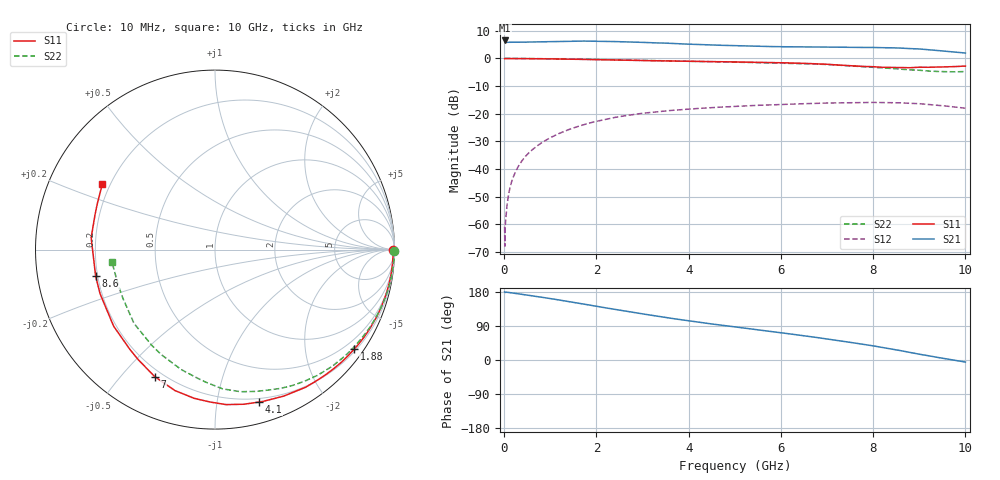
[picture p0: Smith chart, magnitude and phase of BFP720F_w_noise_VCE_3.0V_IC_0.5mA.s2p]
! Infineon Technologies  Discrete & RF Semiconductors
! BFP720F
! VCE =  3.0 V,  IC =  0.5 mA
! Common Emitter S-Parameters:  Jan 2016
# GHz  S  MA  R  50
!  f  S11  S21  S12  S22
! GHz  MAG  ANG  MAG  ANG  MAG  ANG  MAG  ANG
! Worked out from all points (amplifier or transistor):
!   233 points, 10 MHz to 10 GHz, reference 50 ohm
!   highest |S21| = 6.5 dB at 10 MHz (marker M1)
!   |S21| within 3 dB of that: start of sweep to 8.882 GHz
!   unconditionally stable (mu >= 1): nowhere
!   at 200 MHz: K = 0.01, MSG = 24.3 dB, |S12| = -42.9 dB
!   at 1.74 GHz: K = 0.12, MSG = 15.1 dB, |S12| = -23.9 dB
!   at 10 GHz: K = 0.81, MSG = 10.0 dB, |S12| = -18.0 dB
!   lowest NFmin = 0.54 dB at 450 MHz
!   S11 on the Smith chart (normalised r, x): 10 MHz: open; 1.88 GHz: 0.25, -3.10; 4.1 GHz: 0.17, -1.32; 7 GHz: 0.17, -0.62; 8.6 GHz: 0.19, -0.11; 10 GHz: 0.17, +0.26
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0.01  0.9904 -0.1  2.113 179.7  0.0009 -36.3  1 -0.5
0.015  0.9923 -0.2  2.048 179.0  0.0004 21.8  1 -0.7
0.02  0.9942 -0.3  1.984 178.3  0.0008 94.7  1 -0.9
0.03  0.9941 -0.5  1.975 178.5  0.0011 94.4  0.9994 -0.9
0.07  0.9938 -1.3  1.956 178.7  0.0025 90.6  0.9986 -1.0
0.11  0.9934 -1.9  1.958 178.0  0.004 88.1  0.9992 -1.5
0.26  0.992 -4.6  1.968 175.4  0.0094 86.4  0.9983 -3.7
0.42  0.9909 -7.6  1.971 172.6  0.0153 84.0  0.996 -6.1
0.88  0.9836 -16.0  2.002 164.4  0.0323 76.8  0.9904 -12.7
1.68  0.9608 -31.7  2.059 148.4  0.0617 63.0  0.9682 -25.1
1.88  0.9533 -35.6  2.053 144.3  0.0687 59.3  0.9616 -28.3
2.62  0.9283 -49.8  1.997 129.0  0.0917 45.7  0.9351 -39.5
3.4  0.9033 -63.2  1.899 114.0  0.1101 32.5  0.9066 -49.6
4.1  0.8841 -73.8  1.796 101.7  0.1228 22.0  0.8837 -56.6
5.1  0.8617 -87.1  1.694 85.9  0.1366 8.3  0.8518 -65.4
6.8  0.7939 -111.5  1.612 59.0  0.1538 -14.4  0.7865 -84.0
7  0.7833 -115.4  1.611 55.5  0.1558 -17.3  0.7769 -86.9
8  0.7079 -142.9  1.578 37.3  0.1598 -32.8  0.6941 -105.8
8.4  0.686 -158.9  1.556 28.9  0.1587 -40.2  0.6575 -117.0
8.6  0.6813 -167.4  1.537 24.6  0.157 -43.9  0.6396 -123.3
9  0.6931 174.5  1.483 15.3  0.1516 -52.1  0.6106 -137.6
10  0.727 149.6  1.252 -5.4  0.1256 -69.3  0.5786 -173.3
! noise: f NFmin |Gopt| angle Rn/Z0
0.45  0.54  0.9  6  0.96
0.9  0.77  0.88  13  1.01
2.4  1.03  0.86  32  0.7
5.5  1.54  0.73  97  0.46
